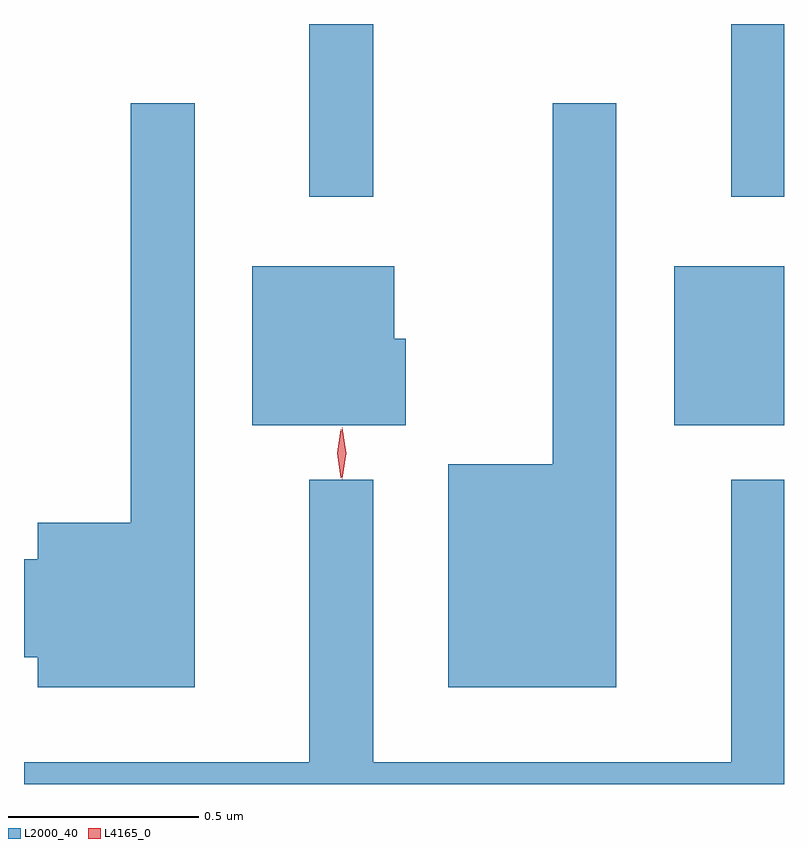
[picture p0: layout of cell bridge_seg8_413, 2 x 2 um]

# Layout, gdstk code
import gdstk
lib = gdstk.Library(unit=1e-6, precision=1e-09)
def R(c, l, rs):  # rectangles x0, y0, x1, y1
    for r in rs: c.add(gdstk.rectangle(r[:2], r[2:], *l))
def P(c, l, *ps):  # polygons
    for p in ps: c.add(gdstk.Polygon(p, *l))
L2000_40 = (2000, 40)
L4165_0 = (4165, 0)

bridge_seg8_413 = lib.new_cell('bridge_seg8_413')
R(bridge_seg8_413, L2000_40, [(657.271,1826.471,657.56,1826.889), (656.311,1827.073,656.479,1827.527), (657.421,1827.073,657.56,1827.527)])
P(bridge_seg8_413, L2000_40, [(656.009,1827.318),(655.841,1827.318),(655.841,1826.214),(655.596,1826.214),(655.596,1826.119),(655.56,1826.119),(655.56,1825.861),(655.596,1825.861),(655.596,1825.781),(656.009,1825.781)],
  [(657.119,1827.318),(656.951,1827.318),(656.951,1826.369),(656.676,1826.369),(656.676,1825.781),(657.119,1825.781)],
  [(656.564,1826.699),(656.534,1826.699),(656.534,1826.889),(656.161,1826.889),(656.161,1826.471),(656.564,1826.471)],
  [(657.56,1826.328),(657.421,1826.328),(657.421,1825.584),(656.479,1825.584),(656.479,1826.328),(656.311,1826.328),(656.311,1825.584),(655.56,1825.584),(655.56,1825.527),(657.56,1825.527)])
P(bridge_seg8_413, L4165_0, [(656.394,1826.333),(656.384,1826.397),(656.394,1826.461),(656.394,1826.461),(656.394,1826.461),(656.404,1826.397),(656.395,1826.333),(656.395,1826.333)],
  [(656.398,1826.329),(656.398,1826.33),(656.388,1826.397),(656.398,1826.465),(656.398,1826.466),(656.398,1826.465),(656.408,1826.397),(656.398,1826.33)])

lib.write_gds('bridge_seg8_413.gds')
